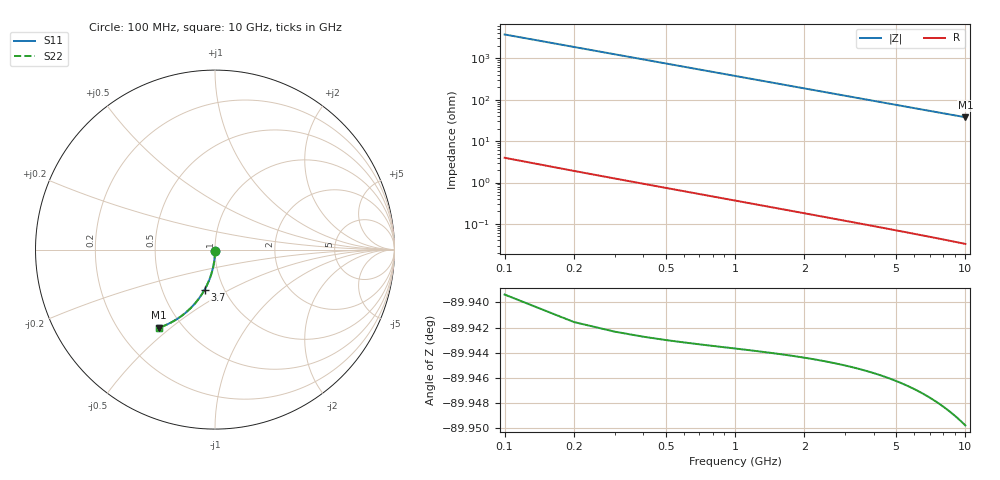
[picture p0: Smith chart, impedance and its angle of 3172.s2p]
# Hz S RI R 50.00
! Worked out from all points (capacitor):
!   100 points, 100 MHz to 10 GHz, reference 50 ohm
!   read as one part in shunt: C = 426 fF near 100 MHz
!   lowest |Z| = 37.6 ohm at 10 GHz (marker M1)
!   S11 on the Smith chart (normalised r, x): 100 MHz: 1.00, -0.01; 3.7 GHz: 0.81, -0.38; 10 GHz: 0.37, -0.45
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1e8  0.00013 -0.00641  0.9998 -0.00697  0.9998 -0.00697  0.00013 -0.00641
2e8  -9.45e-06 -0.0128  0.9996 -0.0139  0.9996 -0.0139  -9.45e-06 -0.0128
3e8  -0.000238 -0.0192  0.9994 -0.0209  0.9994 -0.0209  -0.000238 -0.0192
4e8  -0.000557 -0.0256  0.9991 -0.0279  0.9991 -0.0279  -0.000557 -0.0256
5e8  -0.000964 -0.032  0.9987 -0.0348  0.9987 -0.0348  -0.000964 -0.032
6e8  -0.00146 -0.0384  0.9982 -0.0418  0.9982 -0.0418  -0.00146 -0.0384
7e8  -0.00205 -0.0448  0.9976 -0.0487  0.9976 -0.0487  -0.00205 -0.0448
8e8  -0.00272 -0.0511  0.9969 -0.0556  0.9969 -0.0556  -0.00272 -0.0511
9e8  -0.00348 -0.0575  0.9961 -0.0625  0.9961 -0.0625  -0.00348 -0.0575
1.1e9  -0.00527 -0.0701  0.9943 -0.0763  0.9943 -0.0763  -0.00527 -0.0701
1.4e9  -0.00859 -0.089  0.991 -0.0968  0.991 -0.0968  -0.00859 -0.089
1.8e9  -0.0142 -0.1137  0.9854 -0.1238  0.9854 -0.1238  -0.0142 -0.1137
2.1e9  -0.0193 -0.132  0.9802 -0.1437  0.9802 -0.1437  -0.0193 -0.132
2.5e9  -0.0272 -0.1559  0.9723 -0.1698  0.9723 -0.1698  -0.0272 -0.1559
2.9e9  -0.0363 -0.1791  0.9632 -0.1953  0.9632 -0.1953  -0.0363 -0.1791
3.4e9  -0.0493 -0.2071  0.9501 -0.2261  0.9501 -0.2261  -0.0493 -0.2071
3.7e9  -0.0579 -0.2233  0.9415 -0.244  0.9415 -0.244  -0.0579 -0.2233
4.4e9  -0.0801 -0.2591  0.9192 -0.2838  0.9192 -0.2838  -0.0801 -0.2591
5.1e9  -0.1048 -0.2921  0.8943 -0.3207  0.8943 -0.3207  -0.1048 -0.2921
6.7e9  -0.1687 -0.3556  0.8302 -0.3933  0.8302 -0.3933  -0.1687 -0.3556
8.4e9  -0.2427 -0.405  0.7557 -0.4524  0.7557 -0.4524  -0.2427 -0.405
1e10  -0.3134 -0.4355  0.6845 -0.4921  0.6845 -0.4921  -0.3134 -0.4355
